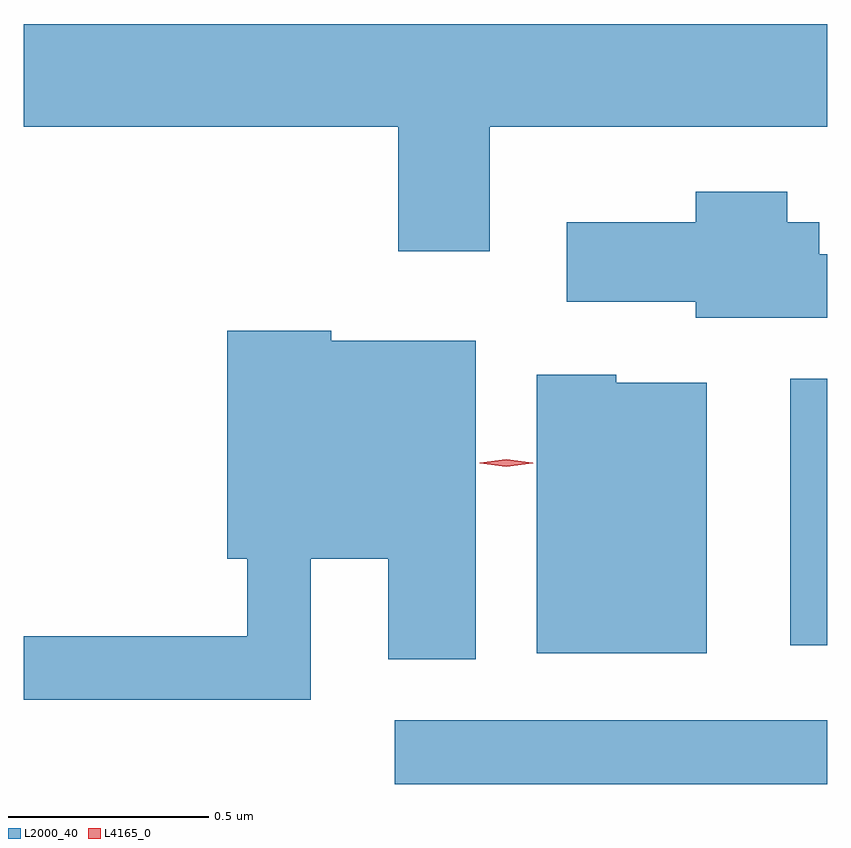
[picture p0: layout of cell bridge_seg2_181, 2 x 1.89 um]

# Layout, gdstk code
import gdstk
lib = gdstk.Library(unit=1e-6, precision=1e-09)
def R(c, l, rs):  # rectangles x0, y0, x1, y1
    for r in rs: c.add(gdstk.rectangle(r[:2], r[2:], *l))
def P(c, l, *ps):  # polygons
    for p in ps: c.add(gdstk.Polygon(p, *l))
L2000_40 = (2000, 40)
L4165_0 = (4165, 0)

bridge_seg2_181 = lib.new_cell('bridge_seg2_181')
R(bridge_seg2_181, L2000_40, [(851.713,1015.601,852.789,1015.759), (852.696,1015.946,852.789,1016.609)])
P(bridge_seg2_181, L2000_40, [(851.949,1017.236),(852.789,1017.236),(852.789,1017.492),(850.789,1017.492),(850.789,1017.236),(851.721,1017.236),(851.721,1016.926),(851.949,1016.926)],
  [(852.789,1016.919),(852.769,1016.919),(852.769,1016.999),(852.689,1016.999),(852.689,1017.074),(852.461,1017.074),(852.461,1016.999),(852.141,1016.999),(852.141,1016.801),(852.461,1016.801),(852.461,1016.761),(852.789,1016.761)],
  [(851.504,1016.161),(851.696,1016.161),(851.696,1015.911),(851.914,1015.911),(851.914,1016.704),(851.554,1016.704),(851.554,1016.729),(851.296,1016.729),(851.296,1016.161),(851.346,1016.161),(851.346,1015.969),(850.789,1015.969),(850.789,1015.811),(851.504,1015.811)],
  [(852.489,1016.599),(852.264,1016.599),(852.264,1016.619),(852.066,1016.619),(852.066,1015.926),(852.489,1015.926)])
P(bridge_seg2_181, L4165_0, [(851.99,1016.39),(851.924,1016.399),(851.924,1016.4),(851.924,1016.4),(851.99,1016.409),(852.056,1016.4),(852.057,1016.399),(852.056,1016.399)])

lib.write_gds('bridge_seg2_181.gds')
